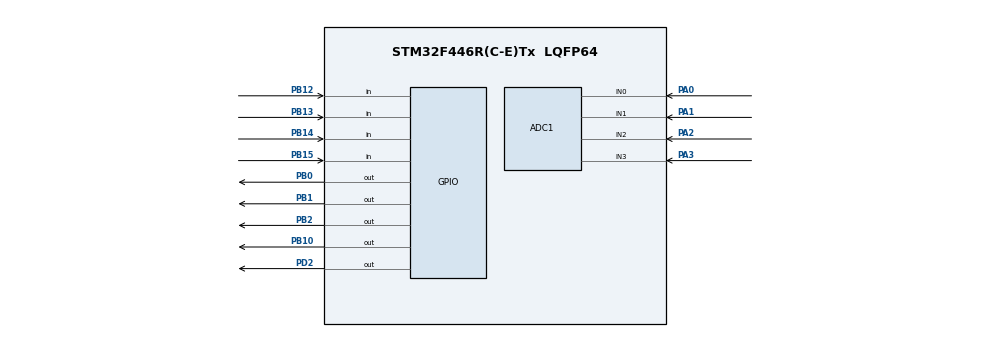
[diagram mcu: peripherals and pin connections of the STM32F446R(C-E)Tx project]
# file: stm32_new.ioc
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ADC1.Channel-1\#ChannelRegularConversion=ADC_CHANNEL_1
ADC1.Channel-2\#ChannelRegularConversion=ADC_CHANNEL_3
ADC1.Channel-3\#ChannelRegularConversion=ADC_CHANNEL_3
ADC1.ClockPrescaler=ADC_CLOCK_SYNC_PCLK_DIV4
ADC1.DMAContinuousRequests=ENABLE
ADC1.ExternalTrigConv=ADC_EXTERNALTRIGCONV_T8_TRGO
ADC1.NbrOfConversion=4
ADC1.NbrOfConversionFlag=1
ADC1.Rank-1\#ChannelRegularConversion=2
ADC1.Rank-2\#ChannelRegularConversion=3
ADC1.Rank-3\#ChannelRegularConversion=4
ADC1.SamplingTime-0\#ChannelRegularConversion=ADC_SAMPLETIME_15CYCLES
ADC1.SamplingTime-1\#ChannelRegularConversion=ADC_SAMPLETIME_15CYCLES
ADC1.SamplingTime-2\#ChannelRegularConversion=ADC_SAMPLETIME_15CYCLES
ADC1.SamplingTime-3\#ChannelRegularConversion=ADC_SAMPLETIME_15CYCLES
ADC1.ScanConvMode=ENABLE
ADC1.master=1
Dma.ADC1.0.Direction=DMA_PERIPH_TO_MEMORY
Dma.ADC1.0.FIFOMode=DMA_FIFOMODE_DISABLE
Dma.ADC1.0.Instance=DMA2_Stream0
Dma.ADC1.0.MemDataAlignment=DMA_MDATAALIGN_WORD
Dma.ADC1.0.MemInc=DMA_MINC_ENABLE
Dma.ADC1.0.Mode=DMA_CIRCULAR
Dma.ADC1.0.PeriphDataAlignment=DMA_PDATAALIGN_WORD
Dma.ADC1.0.PeriphInc=DMA_PINC_DISABLE
Dma.ADC1.0.Priority=DMA_PRIORITY_LOW
Dma.Request0=ADC1
Mcu.Family=STM32F4
Mcu.Name=STM32F446R(C-E)Tx
Mcu.Package=LQFP64
NVIC.ADC_IRQn=true\:0\:0\:false\:false\:true\:true\:true\:true
NVIC.DMA2_Stream0_IRQn=true\:0\:0\:false\:false\:true\:false\:true\:true
NVIC.PriorityGroup=NVIC_PRIORITYGROUP_4
NVIC.TIM8_UP_TIM13_IRQn=true\:0\:0\:false\:false\:true\:true\:true\:true
PA0-WKUP.Signal=ADCx_IN0
PA1.Signal=ADCx_IN1
PA13.Mode=Serial_Wire
PA13.Signal=SYS_JTMS-SWDIO
PA14.Mode=Serial_Wire
PA14.Signal=SYS_JTCK-SWCLK
PA2.Signal=ADCx_IN2
PA3.Signal=ADCx_IN3
PB0.Signal=GPIO_Output
PB1.Signal=GPIO_Output
PB10.Signal=GPIO_Output
PB12.Signal=GPIO_Input
PB13.Signal=GPIO_Input
PB14.Signal=GPIO_Input
PB15.Signal=GPIO_Input
PB2.Signal=GPIO_Output
PD2.Signal=GPIO_Output
PH0-OSC_IN.Mode=HSE-External-Oscillator
PH0-OSC_IN.Signal=RCC_OSC_IN
PH1-OSC_OUT.Mode=HSE-External-Oscillator
PH1-OSC_OUT.Signal=RCC_OSC_OUT
ProjectManager.HeapSize=0x200
ProjectManager.StackSize=0x400
ProjectManager.TargetToolchain=STM32CubeIDE
RCC.CortexFreq_Value=16000000
RCC.USBFreq_Value=96000000
RCC.VCOOutputFreq_Value=192000000
SH.ADCx_IN0.0=ADC1_IN0,IN0
SH.ADCx_IN1.0=ADC1_IN1,IN1
SH.ADCx_IN2.0=ADC1_IN2,IN2
SH.ADCx_IN3.0=ADC1_IN3,IN3
TIM8.Period=10000-1
TIM8.Prescaler=180-1
TIM8.TIM_MasterOutputTrigger=TIM_TRGO_UPDATE
VP_TIM8_VS_ClockSourceINT.Mode=Internal
board=custom

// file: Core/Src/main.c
/* USER CODE BEGIN Header */
/**
  ******************************************************************************
  * @file           : main.c
  * @brief          : Main program body
  ******************************************************************************
  * @attention
  *
  * Copyright (c) 2026 STMicroelectronics.
  * All rights reserved.
  *
  * This software is licensed under terms that can be found in the LICENSE file
  * in the root directory of this software component.
  * If no LICENSE file comes with this software, it is provided AS-IS.
  *
  ******************************************************************************
  */
/* USER CODE END Header */
#include "main.h"
#include "adc.h"
#include "dma.h"
#include "tim.h"
#include "gpio.h"

/* USER CODE BEGIN PV */
#define LED_COUNT 4
GPIO_TypeDef* led_port[LED_COUNT] = {GPIOB, GPIOB, GPIOB, GPIOB};
uint16_t led_pin[LED_COUNT]       = {GPIO_PIN_0, GPIO_PIN_1, GPIO_PIN_2, GPIO_PIN_10};
uint8_t led_pattern = 0x01;

#define ADC_CH_COUNT     4
#define MA_WINDOW_SIZE   5
#define ADC_MIN          0
#define ADC_MAX          4095

/* 0 = 기존 flag 방식 (콜백에서 flag 세팅) / 1 = 4단계: NDTR 폴링 방식 (flag 없이) */
#define USE_NDTR_METHOD  0

uint32_t adc1_buffer[ADC_CH_COUNT];
volatile uint8_t adc_updated_flag = 0;

/* 3단계: 채널별 필터 상태를 구조체로 묶어서 독립 관리 */
typedef struct {
    uint16_t history[MA_WINDOW_SIZE];
    uint8_t  index;
    uint32_t sum;
    uint8_t  filled;
} MovingAvgFilter_t;

MovingAvgFilter_t ma_filter[ADC_CH_COUNT];

uint16_t adc_raw_value[ADC_CH_COUNT];
uint16_t adc_filtered_value[ADC_CH_COUNT];
float    adc_normalized_value[ADC_CH_COUNT];

/* 4단계용: 이전에 읽은 DMA 남은 카운터 값 */
uint32_t last_ndtr = ADC_CH_COUNT;
/* USER CODE END PV */

void SystemClock_Config(void);

/* USER CODE BEGIN 0 */
#define SW_PRESSED(port, pin) (HAL_GPIO_ReadPin(port, pin) == GPIO_PIN_RESET)

static void UpdateLEDs(uint8_t pattern, uint8_t invert)
{
    uint8_t out = invert ? (~pattern & 0x0F) : (pattern & 0x0F);
    for (int i = 0; i < LED_COUNT; i++) {
        HAL_GPIO_WritePin(led_port[i], led_pin[i],
                           (out & (1 << i)) ? GPIO_PIN_SET : GPIO_PIN_RESET);
    }
}

static uint8_t RotateLeft4(uint8_t val, uint8_t n)
{
    n %= 4;
    return ((val << n) | (val >> (4 - n))) & 0x0F;
}

static uint8_t RotateRight4(uint8_t val, uint8_t n)
{
    n %= 4;
    return ((val >> n) | (val << (4 - n))) & 0x0F;
}

/* 3단계: 이동평균 필터를 함수로 분리, 채널별 상태(f)를 인자로 받음 */
static uint16_t MovingAverageFilter(MovingAvgFilter_t *f, uint16_t new_value)
{
    f->sum -= f->history[f->index];
    f->history[f->index] = new_value;
    f->sum += new_value;
    f->index = (f->index + 1) % MA_WINDOW_SIZE;
    if (f->index == 0) f->filled = 1;

    uint8_t divisor = f->filled ? MA_WINDOW_SIZE : f->index;
    return (uint16_t)(f->sum / divisor);
}

static float NormalizeMinMax(uint16_t value, uint16_t min, uint16_t max)
{
    return (float)(value - min) / (float)(max - min);
}

/* 4채널 전부 처리하는 공통 함수 (flag 방식이든 NDTR 방식이든 여기 재사용) */
static void ProcessAllChannels(void)
{
    for (uint8_t ch = 0; ch < ADC_CH_COUNT; ch++)
    {
        adc_raw_value[ch]        = (uint16_t)adc1_buffer[ch];
        adc_normalized_value[ch] = NormalizeMinMax(adc_raw_value[ch], ADC_MIN, ADC_MAX);
        adc_filtered_value[ch]   = MovingAverageFilter(&ma_filter[ch], adc_raw_value[ch]);
    }
}
/* USER CODE END 0 */

int main(void)
{

  /* MCU Configuration--------------------------------------------------------*/

  /* Reset of all peripherals, Initializes the Flash interface and the Systick. */
  HAL_Init();

  /* Configure the system clock */
  SystemClock_Config();

  /* Initialize all configured peripherals */
  MX_GPIO_Init();
  MX_DMA_Init();
  MX_ADC1_Init();
  MX_TIM8_Init();

  /* Infinite loop */
  /* USER CODE BEGIN WHILE */
  /* TIM8이 ADC1 트리거 소스이므로 타이머부터 시작 */
  HAL_TIM_Base_Start(&htim8);

  /* ADC를 DMA 모드로 시작 (circular, 4채널) */
  HAL_ADC_Start_DMA(&hadc1, (uint32_t*)adc1_buffer, ADC_CH_COUNT);

  while (1)
  {
#if USE_NDTR_METHOD
      /* 4단계: flag 없이, DMA 남은 전송 개수(NDTR)로 새 라운드 감지 */
      uint32_t current_ndtr = __HAL_DMA_GET_COUNTER(&hdma_adc1);

      if (current_ndtr > last_ndtr)   /* 카운터가 리셋되어 커졌다 = 한 바퀴 돌았다 */
      {
          ProcessAllChannels();
      }
      last_ndtr = current_ndtr;
#else
      /* 기존 방식: 콜백이 세운 flag로 감지 */
      if (adc_updated_flag)
      {
          adc_updated_flag = 0;
          ProcessAllChannels();
      }
#endif

    /* USER CODE END WHILE */

  }
}

void SystemClock_Config(void)
{
  RCC_OscInitTypeDef RCC_OscInitStruct = {0};
  RCC_ClkInitTypeDef RCC_ClkInitStruct = {0};

  /** Configure the main internal regulator output voltage
  */
  __HAL_RCC_PWR_CLK_ENABLE();
  __HAL_PWR_VOLTAGESCALING_CONFIG(PWR_REGULATOR_VOLTAGE_SCALE3);

  /** Initializes the RCC Oscillators according to the specified parameters
  * in the RCC_OscInitTypeDef structure.
  */
  RCC_OscInitStruct.OscillatorType = RCC_OSCILLATORTYPE_HSI;
  RCC_OscInitStruct.HSIState = RCC_HSI_ON;
  RCC_OscInitStruct.HSICalibrationValue = RCC_HSICALIBRATION_DEFAULT;
  RCC_OscInitStruct.PLL.PLLState = RCC_PLL_NONE;
  if (HAL_RCC_OscConfig(&RCC_OscInitStruct) != HAL_OK)
  {
    Error_Handler();
  }

  /** Initializes the CPU, AHB and APB buses clocks
  */
  RCC_ClkInitStruct.ClockType = RCC_CLOCKTYPE_HCLK|RCC_CLOCKTYPE_SYSCLK
                              |RCC_CLOCKTYPE_PCLK1|RCC_CLOCKTYPE_PCLK2;
  RCC_ClkInitStruct.SYSCLKSource = RCC_SYSCLKSOURCE_HSI;
  RCC_ClkInitStruct.AHBCLKDivider = RCC_SYSCLK_DIV1;
  RCC_ClkInitStruct.APB1CLKDivider = RCC_HCLK_DIV1;
  RCC_ClkInitStruct.APB2CLKDivider = RCC_HCLK_DIV1;

  if (HAL_RCC_ClockConfig(&RCC_ClkInitStruct, FLASH_LATENCY_0) != HAL_OK)
  {
    Error_Handler();
  }
}

/* USER CODE BEGIN 4 */
void HAL_ADC_ConvCpltCallback(ADC_HandleTypeDef *hadc)
{
    if (hadc->Instance == ADC1)
    {
        adc_updated_flag = 1;   // "한 라운드 변환 끝났다" 신호만
    }
}
/* USER CODE END 4 */

void Error_Handler(void)
{
  __disable_irq();
  while (1)
  {
  }
}
